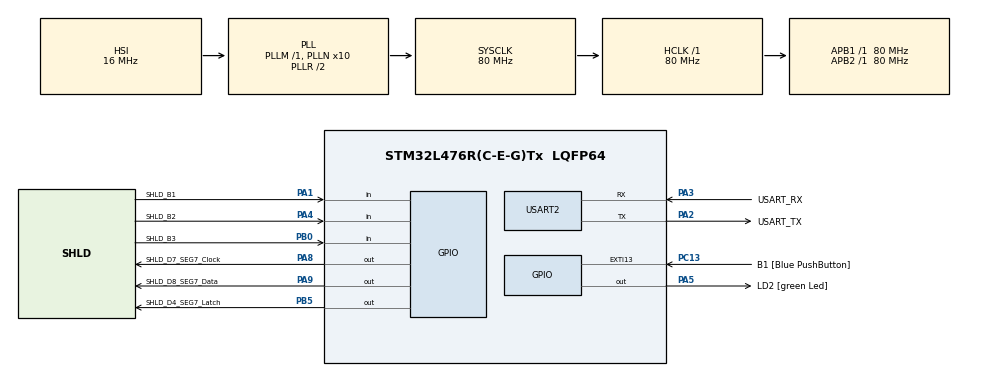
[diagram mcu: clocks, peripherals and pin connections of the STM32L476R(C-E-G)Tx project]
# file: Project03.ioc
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FREERTOS.BinarySemaphores01=t1done_sem,Dynamic,NULL;t2done_sem,Dynamic,NULL;t3done_sem,Dynamic,NULL
FREERTOS.Queues01=customer_queue,20,customer_t,0,Dynamic,NULL,NULL
FREERTOS.Tasks01=defaultTask,24,256,StartDefaultTask,Default,NULL,Dynamic,NULL,NULL;Teller01,42,256,teller_task,As external,&teller01,Dynamic,NULL,NULL;Teller02,42,256,teller_task,As external,&teller02,Dynamic,NULL,NULL;Teller03,42,256,teller_task,As external,&teller03,Dynamic,NULL,NULL;Manager,42,256,manager_task,As external,&manager_info,Dynamic,NULL,NULL
FREERTOS.configMINIMAL_STACK_SIZE=128
FREERTOS.configTOTAL_HEAP_SIZE=10000
FREERTOS.configUSE_IDLE_HOOK=1
FREERTOS.configUSE_NEWLIB_REENTRANT=1
Mcu.Family=STM32L4
Mcu.Name=STM32L476R(C-E-G)Tx
Mcu.Package=LQFP64
NVIC.PriorityGroup=NVIC_PRIORITYGROUP_4
NVIC.TIM6_DAC_IRQn=true\:15\:0\:false\:false\:true\:false\:false\:true\:true
NVIC.TimeBase=TIM6_DAC_IRQn
NVIC.TimeBaseIP=TIM6
PA1.GPIO_Label=SHLD_B1
PA1.GPIO_PuPd=GPIO_PULLUP
PA1.Signal=GPIO_Input
PA13\ (JTMS-SWDIO).GPIO_Label=TMS
PA13\ (JTMS-SWDIO).Mode=Serial_Wire
PA13\ (JTMS-SWDIO).Signal=SYS_JTMS-SWDIO
PA14\ (JTCK-SWCLK).GPIO_Label=TCK
PA14\ (JTCK-SWCLK).Mode=Serial_Wire
PA14\ (JTCK-SWCLK).Signal=SYS_JTCK-SWCLK
PA2.GPIO_Label=USART_TX
PA2.GPIO_Mode=GPIO_MODE_AF_PP
PA2.GPIO_PuPd=GPIO_NOPULL
PA2.GPIO_Speed=GPIO_SPEED_FREQ_VERY_HIGH
PA2.Mode=Asynchronous
PA2.Signal=USART2_TX
PA3.GPIO_Label=USART_RX
PA3.GPIO_Mode=GPIO_MODE_AF_PP
PA3.GPIO_PuPd=GPIO_NOPULL
PA3.GPIO_Speed=GPIO_SPEED_FREQ_VERY_HIGH
PA3.Mode=Asynchronous
PA3.Signal=USART2_RX
PA4.GPIO_Label=SHLD_B2
PA4.GPIO_PuPd=GPIO_PULLUP
PA4.Signal=GPIO_Input
PA5.GPIO_Label=LD2 [green Led]
PA5.GPIO_ModeDefaultOutputPP=GPIO_MODE_OUTPUT_PP
PA5.GPIO_PuPd=GPIO_NOPULL
PA5.GPIO_Speed=GPIO_SPEED_FREQ_LOW
PA5.Signal=GPIO_Output
PA8.GPIO_Label=SHLD_D7_SEG7_Clock
PA8.Signal=GPIO_Output
PA9.GPIO_Label=SHLD_D8_SEG7_Data
PA9.Signal=GPIO_Output
PB0.GPIO_Label=SHLD_B3
PB0.GPIO_PuPd=GPIO_PULLUP
PB0.Signal=GPIO_Input
PB3\ (JTDO-TRACESWO).GPIO_Label=SWO
PB3\ (JTDO-TRACESWO).Signal=SYS_JTDO-SWO
PB5.GPIO_Label=SHLD_D4_SEG7_Latch
PB5.GPIO_Speed=GPIO_SPEED_FREQ_HIGH
PB5.Signal=GPIO_Output
PC13.GPIO_Label=B1 [Blue PushButton]
PC13.GPIO_ModeDefaultEXTI=GPIO_MODE_IT_FALLING
PC13.GPIO_PuPd=GPIO_NOPULL
PC13.Signal=GPXTI13
PC14-OSC32_IN\ (PC14).Mode=LSE-External-Oscillator
PC14-OSC32_IN\ (PC14).Signal=RCC_OSC32_IN
PC15-OSC32_OUT\ (PC15).Mode=LSE-External-Oscillator
PC15-OSC32_OUT\ (PC15).Signal=RCC_OSC32_OUT
PH0-OSC_IN\ (PH0).Signal=RCC_OSC_IN
PH1-OSC_OUT\ (PH1).Signal=RCC_OSC_OUT
ProjectManager.HeapSize=0x200
ProjectManager.StackSize=0x400
ProjectManager.TargetToolchain=STM32CubeIDE
RCC.ADCFreq_Value=64000000
RCC.AHBFreq_Value=80000000
RCC.APB1Freq_Value=80000000
RCC.APB1TimFreq_Value=80000000
RCC.APB2Freq_Value=80000000
RCC.APB2TimFreq_Value=80000000
RCC.CortexFreq_Value=80000000
RCC.HCLKFreq_Value=80000000
RCC.HSE_VALUE=8000000
RCC.HSI_VALUE=16000000
RCC.MSI_VALUE=4000000
RCC.PLLN=10
RCC.PLLSAI1Q=RCC_PLLQ_DIV4
RCC.PLLSourceVirtual=RCC_PLLSOURCE_HSI
RCC.PREFETCH_ENABLE=1
RCC.SYSCLKFreq_VALUE=80000000
RCC.SYSCLKSource=RCC_SYSCLKSOURCE_PLLCLK
RCC.USBFreq_Value=32000000
RCC.VCOOutputFreq_Value=160000000
TIM2.Prescaler=7999
USART2.VirtualMode-Asynchronous=VM_ASYNC
VP_FREERTOS_VS_CMSIS_V2.Mode=CMSIS_V2
VP_RNG_VS_RNG.Mode=RNG_Activate
VP_SYS_VS_tim6.Mode=TIM6
VP_TIM2_VS_ClockSourceINT.Mode=Internal
board=NUCLEO-L476RG

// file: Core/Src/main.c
/* USER CODE BEGIN Header */
/**
  ******************************************************************************
  * @file           : main.c
  * @brief          : Main program body
  ******************************************************************************
  * @attention
  *
  * Copyright (c) 2022 STMicroelectronics.
  * All rights reserved.
  *
  * This software is licensed under terms that can be found in the LICENSE file
  * in the root directory of this software component.
  * If no LICENSE file comes with this software, it is provided AS-IS.
  *
  ******************************************************************************
  */
/* USER CODE END Header */
#include "main.h"
#include "cmsis_os.h"

RNG_HandleTypeDef hrng;

TIM_HandleTypeDef htim2;

UART_HandleTypeDef huart2;

/* Definitions for defaultTask */
osThreadId_t defaultTaskHandle;
const osThreadAttr_t defaultTask_attributes = {
  .name = "defaultTask",
  .stack_size = 256 * 4,
  .priority = (osPriority_t) osPriorityNormal,
};
/* Definitions for Teller01 */
osThreadId_t Teller01Handle;
const osThreadAttr_t Teller01_attributes = {
  .name = "Teller01",
  .stack_size = 256 * 4,
  .priority = (osPriority_t) osPriorityHigh2,
};
/* Definitions for Teller02 */
osThreadId_t Teller02Handle;
const osThreadAttr_t Teller02_attributes = {
  .name = "Teller02",
  .stack_size = 256 * 4,
  .priority = (osPriority_t) osPriorityHigh2,
};
/* Definitions for Teller03 */
osThreadId_t Teller03Handle;
const osThreadAttr_t Teller03_attributes = {
  .name = "Teller03",
  .stack_size = 256 * 4,
  .priority = (osPriority_t) osPriorityHigh2,
};
/* Definitions for Manager */
osThreadId_t ManagerHandle;
const osThreadAttr_t Manager_attributes = {
  .name = "Manager",
  .stack_size = 256 * 4,
  .priority = (osPriority_t) osPriorityHigh2,
};
/* Definitions for customer_queue */
osMessageQueueId_t customer_queueHandle;
const osMessageQueueAttr_t customer_queue_attributes = {
  .name = "customer_queue"
};
/* Definitions for t1done_sem */
osSemaphoreId_t t1done_semHandle;
const osSemaphoreAttr_t t1done_sem_attributes = {
  .name = "t1done_sem"
};
/* Definitions for t2done_sem */
osSemaphoreId_t t2done_semHandle;
const osSemaphoreAttr_t t2done_sem_attributes = {
  .name = "t2done_sem"
};
/* Definitions for t3done_sem */
osSemaphoreId_t t3done_semHandle;
const osSemaphoreAttr_t t3done_sem_attributes = {
  .name = "t3done_sem"
};
/* USER CODE BEGIN PV */

teller_t teller01;
teller_t teller02;
teller_t teller03;

struct manager_info_t manager_info;

static const uint32_t queue_size = 20;

int idle_cnt = 0;

/* USER CODE END PV */

void SystemClock_Config(void);
static void MX_GPIO_Init(void);
static void MX_USART2_UART_Init(void);
static void MX_TIM2_Init(void);
static void MX_RNG_Init(void);
void StartDefaultTask(void *argument);
extern void teller_task(void *argument);
extern void manager_task(void *argument);

int main(void)
{

  /* MCU Configuration--------------------------------------------------------*/

  /* Reset of all peripherals, Initializes the Flash interface and the Systick. */
  HAL_Init();

  /* Configure the system clock */
  SystemClock_Config();

  /* Initialize all configured peripherals */
  MX_GPIO_Init();
  MX_USART2_UART_Init();
  MX_TIM2_Init();
  MX_RNG_Init();

  /* Init scheduler */
  osKernelInitialize();

  /* Create the semaphores(s) */
  /* creation of t1done_sem */
  t1done_semHandle = osSemaphoreNew(1, 1, &t1done_sem_attributes);

  /* creation of t2done_sem */
  t2done_semHandle = osSemaphoreNew(1, 1, &t2done_sem_attributes);

  /* creation of t3done_sem */
  t3done_semHandle = osSemaphoreNew(1, 1, &t3done_sem_attributes);

  /* Create the queue(s) */
  /* creation of customer_queue */
  customer_queueHandle = osMessageQueueNew (20, sizeof(customer_t), &customer_queue_attributes);

  /* Create the thread(s) */
  /* creation of defaultTask */
  defaultTaskHandle = osThreadNew(StartDefaultTask, NULL, &defaultTask_attributes);

  /* creation of Teller01 */
  Teller01Handle = osThreadNew(teller_task, (void*) &teller01, &Teller01_attributes);

  /* creation of Teller02 */
  Teller02Handle = osThreadNew(teller_task, (void*) &teller02, &Teller02_attributes);

  /* creation of Teller03 */
  Teller03Handle = osThreadNew(teller_task, (void*) &teller03, &Teller03_attributes);

  /* creation of Manager */
  ManagerHandle = osThreadNew(manager_task, (void*) &manager_info, &Manager_attributes);

  /* USER CODE BEGIN RTOS_EVENTS */
  /* add events, ... */
  // Set handles
	teller01.queue_handle = &customer_queueHandle;
	teller02.queue_handle = &customer_queueHandle;
	teller03.queue_handle = &customer_queueHandle;
	teller01.sem = &t1done_semHandle;
	teller02.sem = &t2done_semHandle;
	teller03.sem = &t3done_semHandle;
	teller01.button_pin = SHLD_B1_Pin;
	teller01.GPIO_port = GPIOA;
	teller02.button_pin = SHLD_B2_Pin;
	teller02.GPIO_port = GPIOA;
	teller03.button_pin = SHLD_B3_Pin;
	teller03.GPIO_port = SHLD_B3_GPIO_Port;
	manager_info.queue_handle = &customer_queueHandle;
	manager_info.idle_hook_cnt = &idle_cnt;
	// Set the tellers for the manager to access them at the end and print out information
	manager_info.teller01 = &teller01;
	manager_info.teller02 = &teller02;
	manager_info.teller03 = &teller03;
  /* USER CODE END RTOS_EVENTS */

  /* Start scheduler */
  osKernelStart();

  /* We should never get here as control is now taken by the scheduler */
  /* Infinite loop */
  /* USER CODE BEGIN WHILE */
  vTaskStartScheduler();

  while (1)
  {
    /* USER CODE END WHILE */

    /* USER CODE BEGIN 3 */
	// Do nothing
  }
  /* USER CODE END 3 */
}

void SystemClock_Config(void)
{
  RCC_OscInitTypeDef RCC_OscInitStruct = {0};
  RCC_ClkInitTypeDef RCC_ClkInitStruct = {0};

  /** Configure the main internal regulator output voltage
  */
  if (HAL_PWREx_ControlVoltageScaling(PWR_REGULATOR_VOLTAGE_SCALE1) != HAL_OK)
  {
    Error_Handler();
  }

  /** Initializes the RCC Oscillators according to the specified parameters
  * in the RCC_OscInitTypeDef structure.
  */
  RCC_OscInitStruct.OscillatorType = RCC_OSCILLATORTYPE_HSI;
  RCC_OscInitStruct.HSIState = RCC_HSI_ON;
  RCC_OscInitStruct.HSICalibrationValue = RCC_HSICALIBRATION_DEFAULT;
  RCC_OscInitStruct.PLL.PLLState = RCC_PLL_ON;
  RCC_OscInitStruct.PLL.PLLSource = RCC_PLLSOURCE_HSI;
  RCC_OscInitStruct.PLL.PLLM = 1;
  RCC_OscInitStruct.PLL.PLLN = 10;
  RCC_OscInitStruct.PLL.PLLP = RCC_PLLP_DIV7;
  RCC_OscInitStruct.PLL.PLLQ = RCC_PLLQ_DIV2;
  RCC_OscInitStruct.PLL.PLLR = RCC_PLLR_DIV2;
  if (HAL_RCC_OscConfig(&RCC_OscInitStruct) != HAL_OK)
  {
    Error_Handler();
  }

  /** Initializes the CPU, AHB and APB buses clocks
  */
  RCC_ClkInitStruct.ClockType = RCC_CLOCKTYPE_HCLK|RCC_CLOCKTYPE_SYSCLK
                              |RCC_CLOCKTYPE_PCLK1|RCC_CLOCKTYPE_PCLK2;
  RCC_ClkInitStruct.SYSCLKSource = RCC_SYSCLKSOURCE_PLLCLK;
  RCC_ClkInitStruct.AHBCLKDivider = RCC_SYSCLK_DIV1;
  RCC_ClkInitStruct.APB1CLKDivider = RCC_HCLK_DIV1;
  RCC_ClkInitStruct.APB2CLKDivider = RCC_HCLK_DIV1;

  if (HAL_RCC_ClockConfig(&RCC_ClkInitStruct, FLASH_LATENCY_4) != HAL_OK)
  {
    Error_Handler();
  }
}

static void MX_RNG_Init(void)
{

  hrng.Instance = RNG;
  if (HAL_RNG_Init(&hrng) != HAL_OK)
  {
    Error_Handler();
  }

}

static void MX_TIM2_Init(void)
{

  TIM_ClockConfigTypeDef sClockSourceConfig = {0};
  TIM_MasterConfigTypeDef sMasterConfig = {0};

  htim2.Instance = TIM2;
  htim2.Init.Prescaler = 7999;
  htim2.Init.CounterMode = TIM_COUNTERMODE_UP;
  htim2.Init.Period = 4294967295;
  htim2.Init.ClockDivision = TIM_CLOCKDIVISION_DIV1;
  htim2.Init.AutoReloadPreload = TIM_AUTORELOAD_PRELOAD_DISABLE;
  if (HAL_TIM_Base_Init(&htim2) != HAL_OK)
  {
    Error_Handler();
  }
  sClockSourceConfig.ClockSource = TIM_CLOCKSOURCE_INTERNAL;
  if (HAL_TIM_ConfigClockSource(&htim2, &sClockSourceConfig) != HAL_OK)
  {
    Error_Handler();
  }
  sMasterConfig.MasterOutputTrigger = TIM_TRGO_RESET;
  sMasterConfig.MasterSlaveMode = TIM_MASTERSLAVEMODE_DISABLE;
  if (HAL_TIMEx_MasterConfigSynchronization(&htim2, &sMasterConfig) != HAL_OK)
  {
    Error_Handler();
  }
  /* USER CODE BEGIN TIM2_Init 2 */
  HAL_TIM_Base_Start(&htim2);
  /* USER CODE END TIM2_Init 2 */

}

static void MX_USART2_UART_Init(void)
{

  huart2.Instance = USART2;
  huart2.Init.BaudRate = 115200;
  huart2.Init.WordLength = UART_WORDLENGTH_8B;
  huart2.Init.StopBits = UART_STOPBITS_1;
  huart2.Init.Parity = UART_PARITY_NONE;
  huart2.Init.Mode = UART_MODE_TX_RX;
  huart2.Init.HwFlowCtl = UART_HWCONTROL_NONE;
  huart2.Init.OverSampling = UART_OVERSAMPLING_16;
  huart2.Init.OneBitSampling = UART_ONE_BIT_SAMPLE_DISABLE;
  huart2.AdvancedInit.AdvFeatureInit = UART_ADVFEATURE_NO_INIT;
  if (HAL_UART_Init(&huart2) != HAL_OK)
  {
    Error_Handler();
  }

}

static void MX_GPIO_Init(void)
{
  GPIO_InitTypeDef GPIO_InitStruct = {0};

  /* GPIO Ports Clock Enable */
  __HAL_RCC_GPIOC_CLK_ENABLE();
  __HAL_RCC_GPIOH_CLK_ENABLE();
  __HAL_RCC_GPIOA_CLK_ENABLE();
  __HAL_RCC_GPIOB_CLK_ENABLE();

  /*Configure GPIO pin Output Level */
  HAL_GPIO_WritePin(GPIOA, LD2_Pin|SHLD_D7_SEG7_Clock_Pin|SHLD_D8_SEG7_Data_Pin, GPIO_PIN_RESET);

  /*Configure GPIO pin Output Level */
  HAL_GPIO_WritePin(SHLD_D4_SEG7_Latch_GPIO_Port, SHLD_D4_SEG7_Latch_Pin, GPIO_PIN_RESET);

  /*Configure GPIO pin : B1_Pin */
  GPIO_InitStruct.Pin = B1_Pin;
  GPIO_InitStruct.Mode = GPIO_MODE_IT_FALLING;
  GPIO_InitStruct.Pull = GPIO_NOPULL;
  HAL_GPIO_Init(B1_GPIO_Port, &GPIO_InitStruct);

  /*Configure GPIO pins : SHLD_B1_Pin SHLD_B2_Pin */
  GPIO_InitStruct.Pin = SHLD_B1_Pin|SHLD_B2_Pin;
  GPIO_InitStruct.Mode = GPIO_MODE_INPUT;
  GPIO_InitStruct.Pull = GPIO_PULLUP;
  HAL_GPIO_Init(GPIOA, &GPIO_InitStruct);

  /*Configure GPIO pins : LD2_Pin SHLD_D7_SEG7_Clock_Pin SHLD_D8_SEG7_Data_Pin */
  GPIO_InitStruct.Pin = LD2_Pin|SHLD_D7_SEG7_Clock_Pin|SHLD_D8_SEG7_Data_Pin;
  GPIO_InitStruct.Mode = GPIO_MODE_OUTPUT_PP;
  GPIO_InitStruct.Pull = GPIO_NOPULL;
  GPIO_InitStruct.Speed = GPIO_SPEED_FREQ_LOW;
  HAL_GPIO_Init(GPIOA, &GPIO_InitStruct);

  /*Configure GPIO pin : SHLD_B3_Pin */
  GPIO_InitStruct.Pin = SHLD_B3_Pin;
  GPIO_InitStruct.Mode = GPIO_MODE_INPUT;
  GPIO_InitStruct.Pull = GPIO_PULLUP;
  HAL_GPIO_Init(SHLD_B3_GPIO_Port, &GPIO_InitStruct);

  /*Configure GPIO pin : SHLD_D4_SEG7_Latch_Pin */
  GPIO_InitStruct.Pin = SHLD_D4_SEG7_Latch_Pin;
  GPIO_InitStruct.Mode = GPIO_MODE_OUTPUT_PP;
  GPIO_InitStruct.Pull = GPIO_NOPULL;
  GPIO_InitStruct.Speed = GPIO_SPEED_FREQ_HIGH;
  HAL_GPIO_Init(SHLD_D4_SEG7_Latch_GPIO_Port, &GPIO_InitStruct);

}

/* USER CODE BEGIN 4 */

void vApplicationIdleHook() {
	idle_cnt++;
}

/* USER CODE END 4 */

void StartDefaultTask(void *argument)
{
  for(;;)
  {
    osDelay(1);
  }
}

void HAL_TIM_PeriodElapsedCallback(TIM_HandleTypeDef *htim)
{
  if (htim->Instance == TIM6) {
    HAL_IncTick();
  }
}

void Error_Handler(void)
{
  __disable_irq();
  while (1)
  {
  }
}
